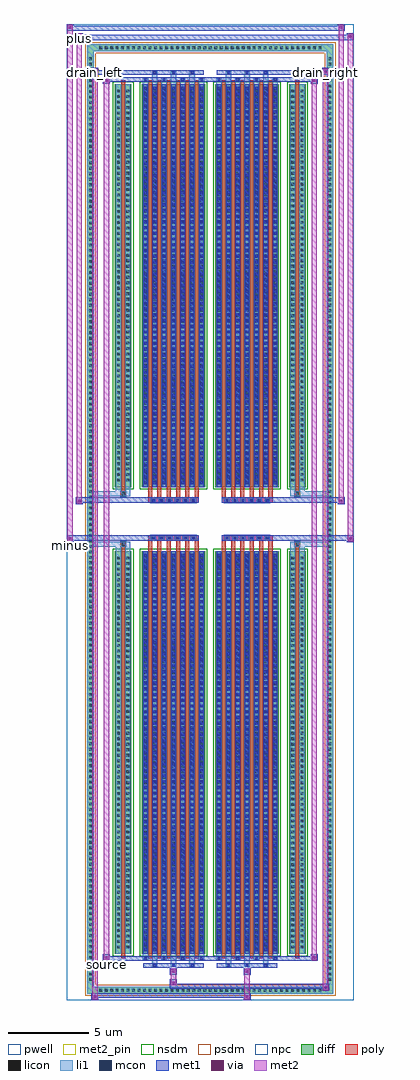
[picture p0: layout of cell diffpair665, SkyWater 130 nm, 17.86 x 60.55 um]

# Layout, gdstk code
import gdstk
lib = gdstk.Library(unit=1e-6, precision=5e-09)
def R(c, l, rs):  # rectangles x0, y0, x1, y1
    for r in rs: c.add(gdstk.rectangle(r[:2], r[2:], *l))
def A(c, l, x, y, w, h, nx, ny, dx, dy):  # array of equal rectangles
    R(c, l, [(x+i*dx, y+j*dy, x+i*dx+w, y+j*dy+h) for i in range(nx) for j in range(ny)])
def P(c, l, *ps):  # polygons
    for p in ps: c.add(gdstk.Polygon(p, *l))
pwell = (64, 44)
diff = (65, 20)
poly = (66, 20)
licon = (66, 44)
li1 = (67, 20)
mcon = (67, 44)
met1 = (68, 20)
via = (68, 44)
met2_pin = (69, 16)
met2 = (69, 20)
nsdm = (93, 44)
psdm = (94, 20)
npc = (95, 20)

diffpair665 = lib.new_cell('diffpair665')
R(diffpair665, pwell, [(-8.91,-29.84,8.91,30.71), (-6.23,-28.03,-0.01,-0.805), (0.01,-28.03,6.23,-0.805), (-6.23,0.805,-0.01,28.03), (0.01,0.805,6.23,28.03)])
A(diffpair665, diff, -7.005, -29.44, 0.41, 0.41, 41, 2, 0.34, 58.47)
A(diffpair665, diff, -7.64, -28.765, 0.41, 0.41, 1, 169, 0, 0.34)
A(diffpair665, diff, 7.23, -28.765, 0.41, 0.41, 1, 169, 0, 0.34)
R(diffpair665, diff, [(-7.005,-29.44,7.005,-29.03), (-7.64,-28.765,-7.23,28.765), (7.23,-28.765,7.64,28.765), (-5.92,-26.985,-4.89,-1.985), (-4.25,-26.985,-0.32,-1.985), (0.32,-26.985,4.25,-1.985), (4.89,-26.985,5.92,-1.985), (-5.92,1.985,-4.89,26.985), (-4.25,1.985,-0.32,26.985), (0.32,1.985,4.25,26.985), (4.89,1.985,5.92,26.985), (-7.005,29.03,7.005,29.44)])
P(diffpair665, diff, [(7.64,29.44),(-7.64,29.44),(-7.64,-29.03),(-7.23,-29.03),(-7.23,29.03),(7.23,29.03),(7.23,-29.03),(-7.23,-29.03),(-7.64,-29.03),(-7.64,-29.44),(7.64,-29.44)])
A(diffpair665, poly, -3.86, -27.235, 0.25, 25.5, 6, 2, 0.58, 28.97)
A(diffpair665, poly, 0.71, -27.235, 0.25, 25.5, 6, 2, 0.58, 28.97)
A(diffpair665, poly, -3.86, -1.735, 0.25, 0.4, 6, 2, 0.58, 3.07)
A(diffpair665, poly, 0.71, -1.735, 0.25, 0.4, 6, 2, 0.58, 3.07)
A(diffpair665, poly, -3.7, -1.335, 0.33, 0.33, 6, 2, 0.5, 2.34)
A(diffpair665, poly, 0.87, -1.335, 0.33, 0.33, 6, 2, 0.5, 2.34)
R(diffpair665, poly, [(-5.53,-27.235,-5.28,-1.735), (5.28,-27.235,5.53,-1.735), (-5.57,-1.735,-5.24,-1.405), (-5.57,-1.735,-5.24,-1.405), (5.24,-1.735,5.57,-1.405), (5.24,-1.735,5.57,-1.405), (-3.86,-1.335,-0.71,-1.005), (0.71,-1.335,3.86,-1.005), (-3.86,1.005,-0.71,1.335), (0.71,1.005,3.86,1.335), (-5.57,1.405,-5.24,1.735), (-5.57,1.405,-5.24,1.735), (5.24,1.405,5.57,1.735), (5.24,1.405,5.57,1.735), (-5.53,1.735,-5.28,27.235), (5.28,1.735,5.53,27.235)])
A(diffpair665, licon, -6.885, -29.32, 0.17, 0.17, 41, 2, 0.34, 58.47)
A(diffpair665, licon, -7.52, -28.645, 0.17, 0.17, 1, 169, 0, 0.34)
A(diffpair665, licon, 7.35, -28.645, 0.17, 0.17, 1, 169, 0, 0.34)
A(diffpair665, licon, -5.78, -26.64, 0.17, 0.17, 1, 72, 0, 0.34)
A(diffpair665, licon, -5.2, -26.64, 0.17, 0.17, 1, 72, 0, 0.34)
A(diffpair665, licon, -4.11, -26.64, 0.17, 0.17, 7, 72, 0.58, 0.34)
A(diffpair665, licon, 0.46, -26.64, 0.17, 0.17, 7, 72, 0.58, 0.34)
A(diffpair665, licon, 5.03, -26.64, 0.17, 0.17, 1, 72, 0, 0.34)
A(diffpair665, licon, 5.61, -26.64, 0.17, 0.17, 1, 72, 0, 0.34)
A(diffpair665, licon, -3.62, -1.255, 0.17, 0.17, 6, 2, 0.5, 2.34)
A(diffpair665, licon, 0.95, -1.255, 0.17, 0.17, 6, 2, 0.5, 2.34)
A(diffpair665, licon, -5.78, 2.33, 0.17, 0.17, 1, 72, 0, 0.34)
A(diffpair665, licon, -5.2, 2.33, 0.17, 0.17, 1, 72, 0, 0.34)
A(diffpair665, licon, -4.11, 2.33, 0.17, 0.17, 7, 72, 0.58, 0.34)
A(diffpair665, licon, 0.46, 2.33, 0.17, 0.17, 7, 72, 0.58, 0.34)
A(diffpair665, licon, 5.03, 2.33, 0.17, 0.17, 1, 72, 0, 0.34)
A(diffpair665, licon, 5.61, 2.33, 0.17, 0.17, 1, 72, 0, 0.34)
R(diffpair665, licon, [(-5.49,-1.655,-5.32,-1.485), (5.32,-1.655,5.49,-1.485), (-5.49,1.485,-5.32,1.655), (5.32,1.485,5.49,1.655)])
A(diffpair665, li1, -6.965, -29.4, 0.33, 0.33, 41, 2, 0.34, 58.47)
A(diffpair665, li1, -7.6, -28.725, 0.33, 0.33, 1, 169, 0, 0.34)
A(diffpair665, li1, 7.27, -28.725, 0.33, 0.33, 1, 169, 0, 0.34)
A(diffpair665, li1, -3.61, -27.79, 0.33, 0.805, 3, 2, 1.16, 54.775)
A(diffpair665, li1, -3.53, -27.79, 0.17, 0.17, 3, 2, 1.16, 55.41)
A(diffpair665, li1, 0.96, -27.79, 0.33, 0.805, 3, 2, 1.16, 54.775)
A(diffpair665, li1, 1.04, -27.79, 0.17, 0.17, 3, 2, 1.16, 55.41)
A(diffpair665, li1, -4.19, -27.36, 0.33, 0.375, 4, 2, 1.16, 54.345)
A(diffpair665, li1, -4.11, -27.36, 0.17, 0.17, 4, 2, 1.16, 54.55)
A(diffpair665, li1, 0.38, -27.36, 0.33, 0.375, 4, 2, 1.16, 54.345)
A(diffpair665, li1, 0.46, -27.36, 0.17, 0.17, 4, 2, 1.16, 54.55)
A(diffpair665, li1, -4.19, -26.985, 0.33, 25, 7, 2, 0.58, 28.97)
A(diffpair665, li1, 0.38, -26.985, 0.33, 25, 7, 2, 0.58, 28.97)
A(diffpair665, li1, -4.11, -26.81, 0.17, 0.17, 7, 69, 0.58, 0.36)
A(diffpair665, li1, -4.11, -26.81, 0.17, 24.65, 7, 2, 0.58, 28.97)
A(diffpair665, li1, 0.46, -26.81, 0.17, 0.17, 7, 69, 0.58, 0.36)
A(diffpair665, li1, 0.46, -26.81, 0.17, 24.65, 7, 2, 0.58, 28.97)
A(diffpair665, li1, -5.86, -26.72, 0.33, 0.33, 1, 72, 0, 0.34)
A(diffpair665, li1, -5.28, -26.72, 0.33, 0.33, 1, 72, 0, 0.34)
A(diffpair665, li1, -4.19, -26.72, 0.33, 0.33, 7, 72, 0.58, 0.34)
A(diffpair665, li1, 0.38, -26.72, 0.33, 0.33, 7, 72, 0.58, 0.34)
A(diffpair665, li1, 4.95, -26.72, 0.33, 0.33, 1, 72, 0, 0.34)
A(diffpair665, li1, 5.53, -26.72, 0.33, 0.33, 1, 72, 0, 0.34)
A(diffpair665, li1, -3.7, -1.335, 0.33, 0.33, 6, 2, 0.5, 2.34)
A(diffpair665, li1, 0.87, -1.335, 0.33, 0.33, 6, 2, 0.5, 2.34)
A(diffpair665, li1, -4.11, 2.16, 0.17, 0.17, 7, 69, 0.58, 0.36)
A(diffpair665, li1, 0.46, 2.16, 0.17, 0.17, 7, 69, 0.58, 0.36)
A(diffpair665, li1, -5.86, 2.25, 0.33, 0.33, 1, 72, 0, 0.34)
A(diffpair665, li1, -5.28, 2.25, 0.33, 0.33, 1, 72, 0, 0.34)
A(diffpair665, li1, -4.19, 2.25, 0.33, 0.33, 7, 72, 0.58, 0.34)
A(diffpair665, li1, 0.38, 2.25, 0.33, 0.33, 7, 72, 0.58, 0.34)
A(diffpair665, li1, 4.95, 2.25, 0.33, 0.33, 1, 72, 0, 0.34)
A(diffpair665, li1, 5.53, 2.25, 0.33, 0.33, 1, 72, 0, 0.34)
R(diffpair665, li1, [(-7.64,-29.44,-7.23,-29.03), (-7.64,-29.44,-7.23,-29.03), (-7.23,-29.44,7.23,-29.03), (7.23,-29.44,7.64,-29.03), (7.23,-29.44,7.64,-29.03), (-7.64,-29.03,-7.23,29.03), (7.23,-29.03,7.64,29.03), (-5.86,-26.985,-5.53,-1.985), (-5.28,-26.985,-4.95,-1.985), (4.95,-26.985,5.28,-1.985), (5.53,-26.985,5.86,-1.985), (-5.86,-1.985,-5.53,-1.405), (-5.28,-1.985,-4.95,-1.405), (4.95,-1.985,5.28,-1.405), (5.53,-1.985,5.86,-1.405), (-7.64,-1.735,-5.57,-1.405), (-5.86,-1.735,-5.57,-1.405), (-5.57,-1.735,-5.24,-1.405), (-5.24,-1.735,-4.95,-1.405), (4.95,-1.735,5.24,-1.405), (5.24,-1.735,5.57,-1.405), (5.24,-1.735,7.64,-1.405), (5.57,-1.735,5.86,-1.405), (-7.64,1.405,-5.57,1.735), (-5.86,1.405,-5.57,1.735), (-5.86,1.405,-5.53,1.985), (-5.57,1.405,-5.24,1.735), (-5.28,1.405,-4.95,1.985), (-5.24,1.405,-4.95,1.735), (4.95,1.405,5.24,1.735), (4.95,1.405,5.28,1.985), (5.24,1.405,5.57,1.735), (5.24,1.405,7.64,1.735), (5.53,1.405,5.86,1.985), (5.57,1.405,5.86,1.735), (-5.86,1.985,-5.53,26.985), (-5.28,1.985,-4.95,26.985), (4.95,1.985,5.28,26.985), (5.53,1.985,5.86,26.985), (-7.64,29.03,-7.23,29.44), (-7.64,29.03,-7.23,29.44), (-7.23,29.03,7.23,29.44), (7.23,29.03,7.64,29.44), (7.23,29.03,7.64,29.44)])
A(diffpair665, mcon, -3.53, -27.79, 0.17, 0.17, 3, 2, 1.16, 55.41)
A(diffpair665, mcon, 1.04, -27.79, 0.17, 0.17, 3, 2, 1.16, 55.41)
A(diffpair665, mcon, -4.11, -27.36, 0.17, 0.17, 4, 2, 1.16, 54.55)
A(diffpair665, mcon, 0.46, -27.36, 0.17, 0.17, 4, 2, 1.16, 54.55)
A(diffpair665, mcon, -4.11, -26.81, 0.17, 0.17, 7, 69, 0.58, 0.36)
A(diffpair665, mcon, 0.46, -26.81, 0.17, 0.17, 7, 69, 0.58, 0.36)
A(diffpair665, mcon, -3.62, -1.255, 0.17, 0.17, 6, 2, 0.5, 2.34)
A(diffpair665, mcon, 0.95, -1.255, 0.17, 0.17, 6, 2, 0.5, 2.34)
A(diffpair665, mcon, -4.11, 2.16, 0.17, 0.17, 7, 69, 0.58, 0.36)
A(diffpair665, mcon, 0.46, 2.16, 0.17, 0.17, 7, 69, 0.58, 0.36)
A(diffpair665, met1, -3.59, -27.85, 0.29, 0.29, 3, 2, 1.16, 55.41)
A(diffpair665, met1, 0.98, -27.85, 0.29, 0.29, 3, 2, 1.16, 55.41)
A(diffpair665, met1, -4.17, -27.42, 0.29, 0.29, 4, 2, 1.16, 54.55)
A(diffpair665, met1, 0.4, -27.42, 0.29, 0.29, 4, 2, 1.16, 54.55)
A(diffpair665, met1, -4.17, -26.985, 0.29, 25, 7, 2, 0.58, 28.97)
A(diffpair665, met1, 0.4, -26.985, 0.29, 25, 7, 2, 0.58, 28.97)
A(diffpair665, met1, -4.17, -26.87, 0.29, 0.29, 7, 69, 0.58, 0.36)
A(diffpair665, met1, 0.4, -26.87, 0.29, 0.29, 7, 69, 0.58, 0.36)
A(diffpair665, met1, -3.68, -1.315, 0.29, 0.29, 6, 2, 0.5, 2.34)
A(diffpair665, met1, 0.89, -1.315, 0.29, 0.29, 6, 2, 0.5, 2.34)
A(diffpair665, met1, -4.17, 2.1, 0.29, 0.29, 7, 69, 0.58, 0.36)
A(diffpair665, met1, 0.4, 2.1, 0.29, 0.29, 7, 69, 0.58, 0.36)
R(diffpair665, met1, [(-7.37,-29.84,-6.94,-29.41), (2.07,-29.84,2.5,-29.41), (-7.37,-29.7,2.5,-29.41), (6.94,-29.27,7.37,-28.84), (-2.5,-29.13,7.37,-28.84), (-2.5,-28.99,-2.07,-28.56), (-2.5,-28.28,-2.07,-27.85), (2.07,-28.28,2.5,-27.85), (-4.17,-27.85,-0.4,-27.56), (0.4,-27.85,4.17,-27.56), (-6.66,-27.42,-6.23,-26.99), (-6.66,-27.42,-4.17,-27.13), (-4.17,-27.42,-0.4,-27.13), (-0.4,-27.42,0.4,-27.13), (0.4,-27.42,4.17,-27.13), (4.17,-27.42,6.66,-27.13), (6.23,-27.42,6.66,-26.99), (-8.91,-1.435,-8.48,-1.005), (8.48,-1.435,8.91,-1.005), (-8.91,-1.335,-0.71,-1.005), (-3.86,-1.335,-0.71,-1.005), (0.71,-1.335,3.86,-1.005), (0.71,-1.335,8.91,-1.005), (-8.34,0.905,-7.91,1.335), (7.91,0.905,8.34,1.335), (-8.34,1.005,-3.86,1.335), (-3.86,1.005,-0.71,1.335), (0.71,1.005,3.86,1.335), (3.86,1.005,8.34,1.335), (-6.66,26.99,-6.23,27.42), (6.23,26.99,6.66,27.42), (-6.66,27.13,-4.17,27.42), (-4.17,27.13,-0.4,27.42), (-0.4,27.13,0.4,27.42), (0.4,27.13,4.17,27.42), (4.17,27.13,6.66,27.42), (-7.37,27.56,-6.94,27.99), (-7.37,27.56,-4.17,27.85), (-4.17,27.56,-0.4,27.85), (0.4,27.56,4.17,27.85), (4.17,27.56,7.37,27.85), (6.94,27.56,7.37,27.99), (-8.34,29.71,-7.91,30.14), (-8.34,29.71,-6.23,30.04), (-6.23,29.71,6.23,30.04), (6.23,29.71,8.91,30.04), (8.48,29.71,8.91,30.14), (-8.91,30.28,-8.48,30.71), (-8.91,30.28,-6.23,30.61), (-6.23,30.28,6.23,30.61), (6.23,30.28,8.34,30.61), (7.91,30.28,8.34,30.71)])
R(diffpair665, via, [(-7.23,-29.7,-7.08,-29.55), (2.21,-29.7,2.36,-29.55), (7.08,-29.13,7.23,-28.98), (-2.36,-28.85,-2.21,-28.7), (-2.36,-28.14,-2.21,-27.99), (2.21,-28.14,2.36,-27.99), (-6.52,-27.28,-6.37,-27.13), (6.37,-27.28,6.52,-27.13), (-8.77,-1.295,-8.62,-1.145), (8.62,-1.295,8.77,-1.145), (-8.2,1.045,-8.05,1.195), (8.05,1.045,8.2,1.195), (-6.52,27.13,-6.37,27.28), (6.37,27.13,6.52,27.28), (-7.23,27.7,-7.08,27.85), (7.08,27.7,7.23,27.85), (-8.2,29.85,-8.05,30), (8.62,29.85,8.77,30), (-8.77,30.42,-8.62,30.57), (8.05,30.42,8.2,30.57)])
R(diffpair665, met2_pin, [(-6.695,-27.87,-6.195,-27.37), (-8.945,-1.885,-8.445,-1.385), (-7.405,27.44,-6.905,27.94), (6.905,27.44,7.405,27.94), (-8.375,29.59,-7.875,30.09)])
R(diffpair665, met2, [(-7.32,-29.79,-6.99,-29.46), (-7.32,-29.79,-6.99,27.94), (2.12,-29.79,2.45,-29.46), (2.12,-29.46,2.45,-28.23), (6.99,-29.22,7.32,-28.89), (6.99,-29.22,7.32,27.94), (-2.45,-28.94,-2.12,-28.61), (-2.45,-28.61,-2.12,-28.23), (-2.45,-28.23,-2.12,-27.9), (2.12,-28.23,2.45,-27.9), (-6.61,-27.37,-6.28,-27.04), (-6.61,-27.37,-6.28,27.37), (6.28,-27.37,6.61,-27.04), (6.28,-27.37,6.61,27.37), (-8.86,-1.385,-8.53,-1.055), (-8.86,-1.385,-8.53,30.66), (8.53,-1.385,8.86,-1.055), (8.53,-1.385,8.86,30.09), (-8.29,0.955,-7.96,1.285), (-8.29,0.955,-7.96,30.09), (7.96,0.955,8.29,1.285), (7.96,0.955,8.29,30.66), (-6.61,27.04,-6.28,27.37), (6.28,27.04,6.61,27.37), (-7.32,27.61,-6.99,27.94), (6.99,27.61,7.32,27.94), (-8.29,29.76,-7.96,30.09), (8.53,29.76,8.86,30.09), (-8.86,30.33,-8.53,30.66), (7.96,30.33,8.29,30.66)])
P(diffpair665, met2, [(8.86,-1.385),(8.86,-1.385),(8.86,-1.055),(8.86,-1.055)],
  [(8.86,29.76),(8.86,29.76),(8.86,30.09),(8.86,30.09)],
  [(-8.53,-1.385),(-8.53,-1.385),(-8.53,-1.055),(-8.53,-1.055)],
  [(-8.53,30.33),(-8.53,30.33),(-8.53,30.66),(-8.53,30.66)],
  [(8.29,0.955),(8.29,0.955),(8.29,1.285),(8.29,1.285)],
  [(8.29,30.33),(8.29,30.33),(8.29,30.66),(8.29,30.66)],
  [(-7.96,0.955),(-7.96,0.955),(-7.96,1.285),(-7.96,1.285)],
  [(-7.96,29.76),(-7.96,29.76),(-7.96,30.09),(-7.96,30.09)],
  [(-6.99,-29.79),(-6.99,-29.79),(-6.99,-29.46),(-6.99,-29.46)],
  [(-6.99,27.61),(-6.99,27.61),(-6.99,27.94),(-6.99,27.94)],
  [(7.32,-29.22),(7.32,-29.22),(7.32,-28.89),(7.32,-28.89)],
  [(7.32,27.61),(7.32,27.61),(7.32,27.94),(7.32,27.94)],
  [(-6.28,-27.37),(-6.28,-27.37),(-6.28,-27.04),(-6.28,-27.04)],
  [(-6.28,27.04),(-6.28,27.04),(-6.28,27.37),(-6.28,27.37)],
  [(6.61,-27.37),(6.61,-27.37),(6.61,-27.04),(6.61,-27.04)],
  [(6.61,27.04),(6.61,27.04),(6.61,27.37),(6.61,27.37)])
R(diffpair665, nsdm, [(-6.05,-27.115,-4.76,-1.855), (-4.38,-27.115,-0.19,-1.855), (0.19,-27.115,4.38,-1.855), (4.76,-27.115,6.05,-1.855), (-6.05,1.855,-4.76,27.115), (-4.38,1.855,-0.19,27.115), (0.19,1.855,4.38,27.115), (4.76,1.855,6.05,27.115)])
P(diffpair665, psdm, [(7.77,29.57),(-7.77,29.57),(-7.77,-28.9),(-7.1,-28.9),(-7.1,28.9),(7.1,28.9),(7.1,-28.9),(-7.1,-28.9),(-7.77,-28.9),(-7.77,-29.57),(7.77,-29.57)])
A(diffpair665, npc, -3.72, -1.355, 0.37, 0.37, 6, 2, 0.5, 2.34)
A(diffpair665, npc, 0.85, -1.355, 0.37, 0.37, 6, 2, 0.5, 2.34)
R(diffpair665, npc, [(-5.59,-1.755,-5.22,-1.385), (5.22,-1.755,5.59,-1.385), (-3.72,-1.355,-2.85,-0.985), (-3.72,-1.355,-2.85,-0.985), (-3.22,-1.355,-2.35,-0.985), (-3.22,-1.355,-2.35,-0.985), (-2.72,-1.355,-1.85,-0.985), (-2.72,-1.355,-1.85,-0.985), (-2.22,-1.355,-1.35,-0.985), (-2.22,-1.355,-1.35,-0.985), (-1.72,-1.355,-0.85,-0.985), (-1.72,-1.355,-0.85,-0.985), (0.85,-1.355,1.72,-0.985), (0.85,-1.355,1.72,-0.985), (1.35,-1.355,2.22,-0.985), (1.35,-1.355,2.22,-0.985), (1.85,-1.355,2.72,-0.985), (1.85,-1.355,2.72,-0.985), (2.35,-1.355,3.22,-0.985), (2.35,-1.355,3.22,-0.985), (2.85,-1.355,3.72,-0.985), (2.85,-1.355,3.72,-0.985), (-3.72,0.985,-2.85,1.355), (-3.72,0.985,-2.85,1.355), (-3.22,0.985,-2.35,1.355), (-3.22,0.985,-2.35,1.355), (-2.72,0.985,-1.85,1.355), (-2.72,0.985,-1.85,1.355), (-2.22,0.985,-1.35,1.355), (-2.22,0.985,-1.35,1.355), (-1.72,0.985,-0.85,1.355), (-1.72,0.985,-0.85,1.355), (0.85,0.985,1.72,1.355), (0.85,0.985,1.72,1.355), (1.35,0.985,2.22,1.355), (1.35,0.985,2.22,1.355), (1.85,0.985,2.72,1.355), (1.85,0.985,2.72,1.355), (2.35,0.985,3.22,1.355), (2.35,0.985,3.22,1.355), (2.85,0.985,3.72,1.355), (2.85,0.985,3.72,1.355), (-5.59,1.385,-5.22,1.755), (5.22,1.385,5.59,1.755)])
diffpair665.add(gdstk.Label('minus', (-8.695,-1.635), layer=69, texttype=5))
diffpair665.add(gdstk.Label('drain_right', (7.155,27.69), layer=69, texttype=5))
diffpair665.add(gdstk.Label('drain_left', (-7.155,27.69), layer=69, texttype=5))
diffpair665.add(gdstk.Label('source', (-6.445,-27.62), layer=69, texttype=5))
diffpair665.add(gdstk.Label('plus', (-8.125,29.84), layer=69, texttype=5))

lib.write_gds('diffpair665.gds')
